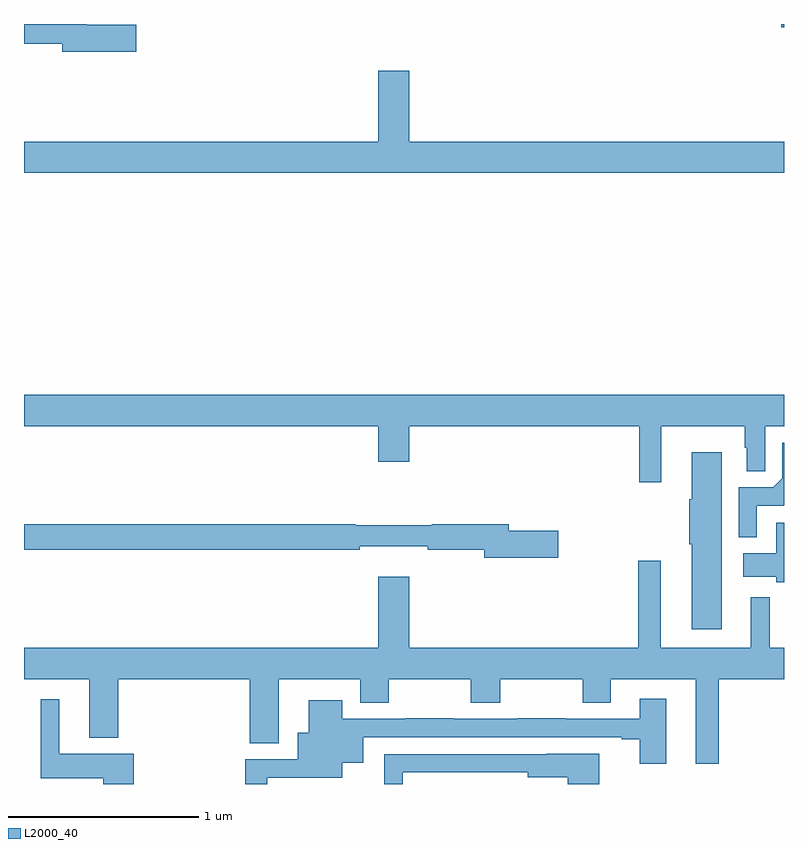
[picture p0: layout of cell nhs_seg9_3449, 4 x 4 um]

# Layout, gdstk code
import gdstk
lib = gdstk.Library(unit=1e-6, precision=1e-09)
def R(c, l, rs):  # rectangles x0, y0, x1, y1
    for r in rs: c.add(gdstk.rectangle(r[:2], r[2:], *l))
def P(c, l, *ps):  # polygons
    for p in ps: c.add(gdstk.Polygon(p, *l))
L2000_40 = (2000, 40)

nhs_seg9_3449 = lib.new_cell('nhs_seg9_3449')
R(nhs_seg9_3449, L2000_40, [(310.986,1234.484,311,1234.5)])
P(nhs_seg9_3449, L2000_40, [(307.591,1234.496),(307.33,1234.496),(307.33,1234.5),(307,1234.5),(307,1234.396),(307.202,1234.396),(307.202,1234.354),(307.591,1234.354)],
  [(311,1233.88),(309.028,1233.88),(309.028,1234.255),(308.864,1234.255),(308.864,1233.88),(307,1233.88),(307,1233.716),(311,1233.716)],
  [(310.354,1232.384),(310.794,1232.384),(310.794,1232.271),(310.805,1232.271),(310.805,1232.146),(310.902,1232.146),(310.902,1232.384),(311,1232.384),(311,1232.548),(307,1232.548),(307,1232.384),(308.864,1232.384),(308.864,1232.196),(309.028,1232.196),(309.028,1232.384),(310.237,1232.384),(310.237,1232.088),(310.354,1232.088)],
  [(310.857,1231.965),(310.998,1231.965),(311,1231.967),(311,1232.295),(310.992,1232.295),(310.992,1232.109),(310.944,1232.061),(310.761,1232.061),(310.761,1231.799),(310.857,1231.799)],
  [(310.672,1232.245),(310.514,1232.245),(310.514,1232),(310.502,1232),(310.502,1231.762),(310.514,1231.762),(310.514,1231.314),(310.672,1231.314)],
  [(311,1231.876),(310.958,1231.876),(310.958,1231.714),(310.785,1231.714),(310.785,1231.592),(310.958,1231.592),(310.958,1231.562),(311,1231.562)],
  [(309.811,1231.832),(309.55,1231.832),(309.55,1231.868),(309.146,1231.868),(309.146,1231.861),(308.746,1231.861),(308.746,1231.868),(307,1231.868),(307,1231.732),(308.768,1231.732),(308.768,1231.751),(309.124,1231.751),(309.124,1231.732),(309.422,1231.732),(309.422,1231.69),(309.811,1231.69)],
  [(310.657,1231.052),(311,1231.052),(311,1231.216),(310.924,1231.216),(310.924,1231.483),(310.826,1231.483),(310.826,1231.216),(310.351,1231.216),(310.351,1231.675),(310.234,1231.675),(310.234,1231.216),(309.028,1231.216),(309.028,1231.591),(308.864,1231.591),(308.864,1231.216),(307,1231.216),(307,1231.052),(307.343,1231.052),(307.343,1230.743),(307.496,1230.743),(307.496,1231.052),(308.189,1231.052),(308.189,1230.715),(308.341,1230.715),(308.341,1231.052),(308.771,1231.052),(308.771,1230.928),(308.919,1230.928),(308.919,1231.052),(309.352,1231.052),(309.352,1230.928),(309.507,1230.928),(309.507,1231.052),(309.94,1231.052),(309.94,1230.928),(310.087,1230.928),(310.087,1231.052),(310.535,1231.052),(310.535,1230.606),(310.657,1230.606)],
  [(308.28,1230.534),(308.674,1230.534),(308.674,1230.611),(308.785,1230.611),(308.785,1230.747),(310.145,1230.747),(310.145,1230.735),(310.241,1230.735),(310.241,1230.606),(310.381,1230.606),(310.381,1230.949),(310.241,1230.949),(310.241,1230.843),(309.851,1230.843),(309.851,1230.845),(309.595,1230.845),(309.595,1230.843),(309.263,1230.843),(309.263,1230.845),(309.007,1230.845),(309.007,1230.843),(308.674,1230.843),(308.674,1230.94),(308.498,1230.94),(308.498,1230.769),(308.441,1230.769),(308.441,1230.63),(308.164,1230.63),(308.164,1230.5),(308.28,1230.5)],
  [(307.577,1230.658),(307.186,1230.658),(307.186,1230.946),(307.088,1230.946),(307.088,1230.53),(307.418,1230.53),(307.418,1230.5),(307.577,1230.5)],
  [(308.994,1230.561),(309.651,1230.561),(309.651,1230.536),(309.863,1230.536),(309.863,1230.5),(310.027,1230.5),(310.027,1230.658),(309.751,1230.658),(309.751,1230.657),(308.897,1230.657),(308.897,1230.5),(308.994,1230.5)])

lib.write_gds('nhs_seg9_3449.gds')
